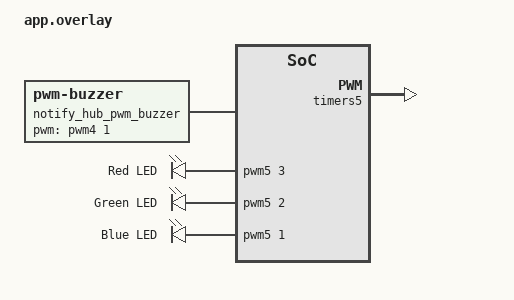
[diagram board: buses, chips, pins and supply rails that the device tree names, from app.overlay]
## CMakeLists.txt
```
cmake_minimum_required(VERSION 3.20.0)
find_package(Zephyr REQUIRED HINTS $ENV{ZEPHYR_BASE})
project(OF_lib_mod_NotifyHub_test)
target_sources(app PRIVATE src/main.cpp)
```

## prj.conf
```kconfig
CONFIG_ONE_FRAMEWORK=y
CONFIG_LOG=y
CONFIG_NOTIFY_HUB=y
CONFIG_CPU_LOAD=y
CONFIG_GPIO=y
CONFIG_LED=y
CONFIG_LED_GPIO=y
CONFIG_PWM=y
```

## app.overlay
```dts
/ {
	notify_hub_pixel_led: pixel_led {
		compatible = "led-pixel-pwm";
		red-led = <&pwm_red_led>;
		green-led = <&pwm_green_led>;
		blue-led = <&pwm_blue_led>;
	};

	notify_hub_pwm_buzzer: pwm_buzzer {
		compatible = "pwm-buzzer";
		pwms = <&pwm4 1 1000 PWM_POLARITY_NORMAL>;
		base-frequency-hz = <1000>;
	};

	notify_hub {
		compatible = "one-framework,notify-hub";
		led-pixel-device = <&notify_hub_pixel_led>;
		pwm-buzzer-device = <&notify_hub_pwm_buzzer>;
	};

	pwmleds {
		status = "okay";
		compatible = "pwm-leds";

		pwm_red_led: pwm_red_led {
			pwms = <&pwm5 3 PWM_MSEC(20) PWM_POLARITY_NORMAL>;
			label = "Red LED";
		};
		
		pwm_green_led: pwm_green_led {
			pwms = <&pwm5 2 PWM_MSEC(20) PWM_POLARITY_NORMAL>;
			label = "Green LED";
		};
		
		pwm_blue_led: pwm_blue_led {
			pwms = <&pwm5 1 PWM_MSEC(20) PWM_POLARITY_NORMAL>;
			label = "Blue LED";
		};
	};
};

&timers5 {
    status = "okay";
    pwm5: pwm {
        status = "okay";
        pinctrl-0 = <&tim5_ch1_pa0 &tim5_ch2_pa1 &tim5_ch3_pa2>;
        pinctrl-names = "default";
    };
};
```

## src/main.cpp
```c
// Copyright (c) 2025. MoonFeather
// SPDX-License-Identifier: BSD-3-Clause

#include <OF/lib/NotifyHub/Notify.hpp>
#include <OF/lib/NotifyHub/NotifyHub.hpp>
#include <zephyr/logging/log.h>
#include <zephyr/kernel.h>
#include <zephyr/debug/cpu_load.h>
#include <OF/lib/algo/Mecanum.hpp>

#include "OF/drivers/output/buzzer.h"


LOG_MODULE_REGISTER(notify_test, CONFIG_LOG_DEFAULT_LEVEL);

using namespace OF;

using namespace ems::literals;
constexpr auto melody =
    R"((200)1,2,3,4,5,
)"_ems;

int main()
{
    LOG_INF("main");
    // NotifyHub is initialized via SYS_INIT
    constexpr led_color c1 = COLOR_HEX("#d81159");
    constexpr led_color c2 = COLOR_HEX("#118ab2");
    NotifyHub::setBuzzerStatus("buzzer1", {std::span(melody), 10, true});

    NotifyHub::setLEDStatus("test1", {c1, LEDMode::Blink, 3, 300});
    k_sleep(K_MSEC(2000));
    NotifyHub::setLEDStatus("test1", {c1, LEDMode::Blink, 3, 100});
    k_sleep(K_MSEC(2000));
    NotifyHub::setLEDStatus("test2", {c2, LEDMode::Breathing, 1, 300});
    k_sleep(K_MSEC(2000));
    NotifyHub::removeLEDStatus("test1");

    while (true)
    {
        uint32_t load = cpu_load_get(false);
        LOG_INF("cpu: %u.%u%%", load / 10, load % 10);

        k_sleep(K_MSEC(500));
    }
}
```
